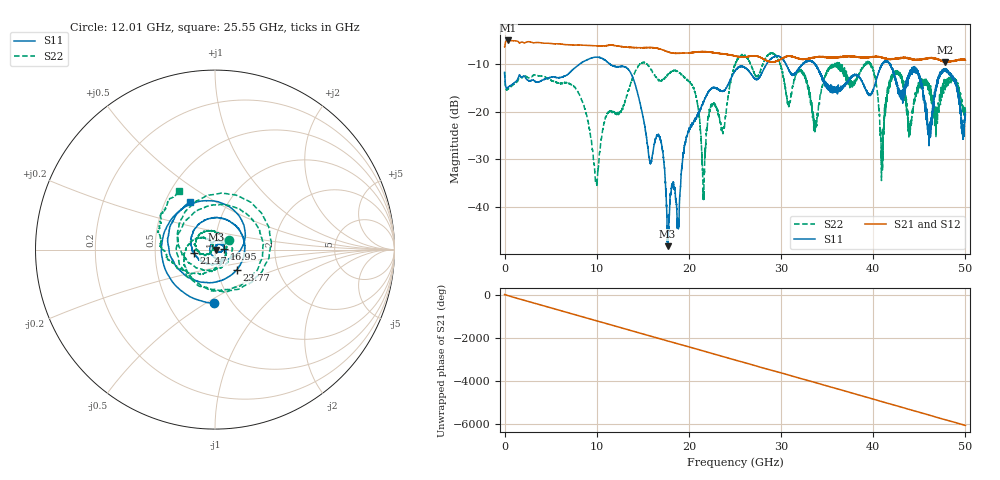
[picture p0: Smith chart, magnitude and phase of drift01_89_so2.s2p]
!Created with skrf (http://scikit-rf.org).
# Hz S RI R 50.0
!freq ReS11 ImS11 ReS21 ImS21 ReS12 ImS12 ReS22 ImS22
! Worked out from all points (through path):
!   10001 points, 300 kHz to 50 GHz, reference 50 ohm
!   highest |S21| = -5.05 dB at 400.3 MHz (marker M1); lowest = -9.6 dB at 47.84 GHz (marker M2)
!   group delay of S21, straight-line fit = 336 ps
!   lowest |S11| = -48.2 dB at 17.69 GHz (marker M3), VSWR 1.01, Z = 50.4 - j0.127 ohm
!   |S11| at or under -10 dB: start of sweep to 8.16 GHz; 11.43 GHz to 28.42 GHz (16.99 GHz wide, 85.3 % of centre); 41.8 GHz to end of sweep (the widest 3 of 10)
!   |S22| runs from -38.4 to -7.7 dB; largest |S21 - S12| = 0.015
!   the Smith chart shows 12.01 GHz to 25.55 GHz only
!   S11 on the Smith chart (normalised r, x): 12.01 GHz: 0.83, -0.54; 16.95 GHz: 1.10, +0.01; 21.47 GHz: 0.79, -0.03; 23.77 GHz: 1.24, -0.29; 25.55 GHz: 0.67, +0.39
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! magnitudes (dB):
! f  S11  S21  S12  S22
! 300 kHz  -11.7  -6.4  -6.5  -11.8
! 400.3 MHz  -14.8  -5.1  -5.1  -15.2
! 8.335 GHz  -9.8  -6.0  -6.0  -17.5
! 9.945 GHz  -8.6  -6.2  -6.2  -34.7
! 12.01 GHz  -10.5  -6.1  -6.1  -20.4
! 16.67 GHz  -24.8  -6.8  -6.7  -13.3
! 16.95 GHz  -26.2  -6.9  -6.9  -13.3
! 17.69 GHz  -48.2  -7.4  -7.4  -12.3
! 20.5 GHz  -22.2  -7.5  -7.5  -15.0
! 21.47 GHz  -18.6  -7.4  -7.4  -31.8
! 22.47 GHz  -15.1  -7.5  -7.6  -19.1
! 23.77 GHz  -15.6  -7.9  -7.9  -23.3
! 25 GHz  -11.4  -8.3  -8.4  -10.3
! 25.55 GHz  -10.5  -8.5  -8.5  -8.3
! 33.34 GHz  -9.4  -8.7  -8.7  -19.9
! 39.48 GHz  -16.3  -8.6  -8.6  -10.0
! 40.95 GHz  -10.1  -8.7  -8.6  -28.8
! 41.67 GHz  -9.6  -8.9  -9.0  -14.8
! 44.74 GHz  -11.9  -9.2  -9.1  -15.2
! 46.1 GHz  -25.4  -8.8  -8.8  -15.0
! 47.84 GHz  -11.2  -9.6  -9.5  -14.3
! 50 GHz  -20.6  -9.2  -9.1  -20.2
